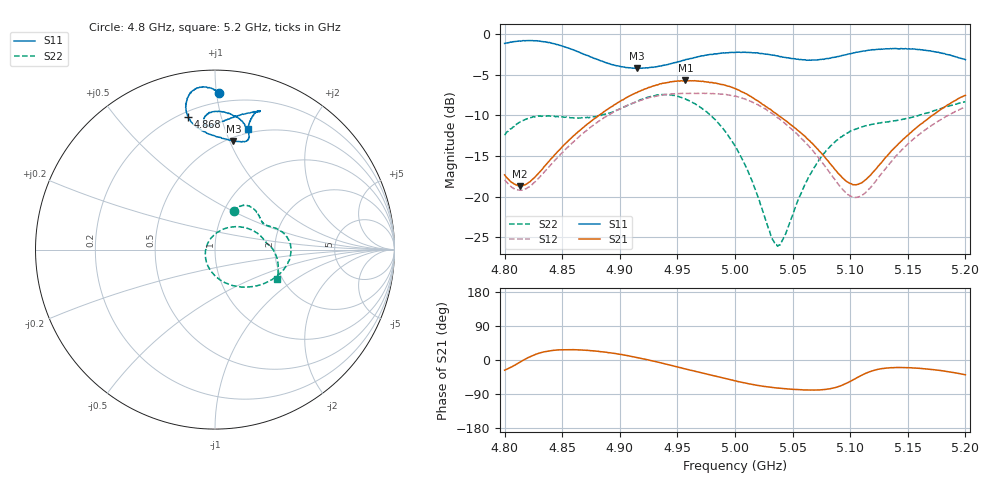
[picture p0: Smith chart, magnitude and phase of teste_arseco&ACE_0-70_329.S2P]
! Network Analyzer HP8722D
! Hewlett-Packard
! Data name: Linha & Wilkinson
! Saver's name: Rodrigo Anjos
! Comments: Teste da utilização de aquisição
! continua pelo VNA HP8722D
! Time and date: 8/5/2025 15:30
!  Frequency  S11  S21  S12  S22
# HZ  S  MA R 50
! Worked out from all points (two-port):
!   401 points, 4.8 GHz to 5.2 GHz, reference 50 ohm
!   highest |S21| = -5.73 dB at 4.957 GHz (marker M1); lowest = -18.7 dB at 4.813 GHz (marker M2)
!   |S21| within 3 dB of the highest: 4.895 GHz to 5.025 GHz (129.9 MHz wide, 2.62 % of centre); 5.18455 GHz to end of sweep
!   lowest |S11| = -4.2 dB at 4.915 GHz (marker M3), VSWR 4.18, Z = 26.5 + j51.6 ohm
!   |S11| at or under -10 dB: nowhere
!   |S22| runs from -26.1 to -7.5 dB; largest |S21 - S12| = 0.89
!   S11 on the Smith chart (normalised r, x): 4.8 GHz: 0.14, +1.02; 4.868 GHz: 0.23, +0.79; 5.2 GHz: 0.46, +1.20
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4.8e9  0.873 88.5  0.1362 -26.9  0.1269 100.7  0.2388 64.1
4.813e9  0.903 92.3  0.1164 -6.3  0.1097 118.5  0.2867 58.6
4.843e9  0.8689 99.8  0.1794 25.7  0.1653 149.5  0.3127 40.8
4.867e9  0.7581 101.4  0.2616 26.1  0.2412 153.4  0.3057 30.4
4.868e9  0.7538 101.4  0.2651 26.0  0.2445 153.4  0.3038 30.1
4.894e9  0.6454 93.1  0.3605 18.0  0.3293 148.1  0.3324 22.8
4.915e9  0.6142 80.4  0.4358 6.4  0.3833 139.8  0.3845 15.0
4.934e9  0.6321 73.7  0.4901 -6.3  0.4184 129.2  0.4211 2.9
4.957e9  0.6944 74.8  0.5172 -23.5  0.4306 114.8  0.3983 -16.4
4.981e9  0.7484 81.0  0.5007 -41.1  0.4299 99.6  0.3053 -41.5
5e9  0.7694 87.3  0.4611 -55.1  0.4153 86.1  0.2044 -69.2
5.019e9  0.7649 92.4  0.3904 -66.8  0.3692 73.2  0.104 -110.4
5.031e9  0.7428 94.2  0.3433 -72.0  0.3281 66.6  0.05813 -157.7
5.037e9  0.7321 94.8  0.318 -74.0  0.3053 63.9  0.04973 164.1
5.043e9  0.7163 94.8  0.2964 -75.7  0.284 61.6  0.05719 127.3
5.067e9  0.6905 92.7  0.213 -79.1  0.1939 57.9  0.1439 58.4
5.085e9  0.7159 86.9  0.1527 -74.4  0.1321 64.6  0.2116 34.7
5.103e9  0.764 79.4  0.1184 -51.7  0.09921 90.6  0.2575 19.5
5.113e9  0.7845 75.9  0.1264 -35.7  0.1055 108.5  0.2722 14.0
5.134e9  0.8085 72.3  0.1845 -20.5  0.1591 125.7  0.2895 7.3
5.17e9  0.7844 74.0  0.3105 -24.9  0.2719 120.5  0.3325 -2.5
5.2e9  0.6942 74.7  0.4187 -39.0  0.3559 108.9  0.3825 -25.7
